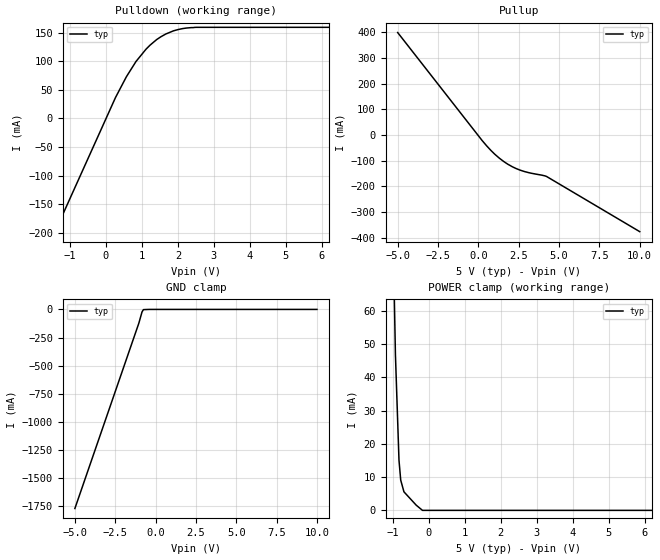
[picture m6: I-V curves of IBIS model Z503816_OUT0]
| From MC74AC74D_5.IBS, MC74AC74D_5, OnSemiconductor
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| (C) COPYRIGHT 1993-2000
| MENTOR GRAPHICS CORPORATION
| ICX STANDARD LIBRARY, ICX PROJECT MODELING,
| ICX CUSTOM MODELING, ICX VENDOR MODEL
| ALL RIGHTS RESERVED.
| THE FOLLOWING ARE TRADEMARKS OR SERVICE MARKS OF
| MENTOR GRAPHICS CORPORATION:ICX (R), ICX STANDARD
| LIBRARY(R), ICX PROJECT MODELING(R), ICX CUSTOM
| MODELING(R), qualityIBIS(TM), MODELVIEWER(TM),
| AND MODELEDITOR(TM)
| ALL COPIES OF SOFTWARE, INCLUDING BUT NOT LIMITED TO
| ANY MODIFICATIONS, ENHANCEMENTS OR DERIVATIVE WORKS,
| MUST CONTAIN ALL MENTOR GRAPHICS CORPORATION'S
| NOTICES AND LEGENDS, INCLUDING THOSE EMBEDDED IN
| SOFTWARE AND THOSE AFFIXED TO SOFTWARE MEDIUM
| AND CONTAINER, AS RECEIVED FROM MENTOR GRAPHICS
| CORPORATION.
| Model Application Version 1.89 2/18/99.
[Model] Z503816_OUT0
Model_type Output
Vref=0.000V
Rref=500.0ohms
Cref=50.00pF
Vmeas=2.500V
C_comp 8.000pF NA NA
| variable typ   min   max
[Voltage Range] 5.000V NA NA
[POWER Clamp Reference] 5.000V NA NA
[Pullup Reference] 5.000V NA NA
[Pulldown Reference] 0.000V NA NA
[GND Clamp Reference] 0.000V NA NA
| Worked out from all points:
|   slope of the pulldown table from 0 to 0.75 V, typ, clamps not added: 8.19 ohm
|   slope of the pullup table from 0 to 0.75 V, typ, clamps not added: 13.5 ohm
|   POWER clamp passes 1 mA (typ) near -0.29 V on its own axis
[GND Clamp]
-5V       -1.77A     NA         NA
-1.036V   -122.4mA   NA         NA
-839.3mV  -22.52mA   NA         NA
-751.8mV  -1.835mA   NA         NA
-375.9mV  0A         NA         NA
10V       0A         NA         NA
[Pulldown]
-5V       -698.5mA   NA         NA
266.6mV   36.71mA    NA         NA
567.3mV   72.79mA    NA         NA
835.2mV   99.58mA    NA         NA
1.114V    121.1mA    NA         NA
1.414V    138.1mA    NA         NA
1.666V    147.7mA    NA         NA
1.879V    153.2mA    NA         NA
2.133V    157.1mA    NA         NA
2.51V     159.3mA    NA         NA
10V       159.3mA    NA         NA
[Pullup]
-5V       399.4mA    NA         NA
238mV     -21.49mA   NA         NA
776mV     -59.62mA   NA         NA
1.305V    -90.15mA   NA         NA
1.816V    -113.1mA   NA         NA
2.572V    -136.2mA   NA         NA
4.224V    -161.1mA   NA         NA
10V       -376.1mA   NA         NA
[POWER Clamp]
-5V       2.966A     NA         NA
-1.033V   106.4mA    NA         NA
-926mV    46.87mA    NA         NA
-827mV    15.11mA    NA         NA
-779mV    9.087mA    NA         NA
-689mV    5.568mA    NA         NA
-348mV    1.557mA    NA         NA
-174mV    0A         NA         NA
10V       0A         NA         NA
[Ramp]
| variable typ min max
dV/dt_r 2.942/317.5p NA NA
dV/dt_f 2.942/351.4p NA NA
R_load = 500.0Ohms
